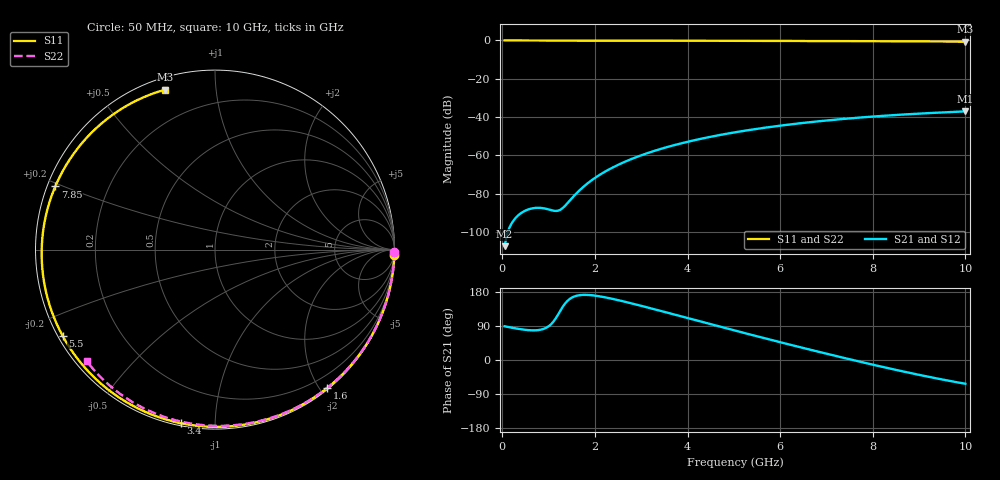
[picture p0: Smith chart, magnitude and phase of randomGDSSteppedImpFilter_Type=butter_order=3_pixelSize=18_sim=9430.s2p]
! freq	dB(S11)	phase(S11)	dB(S12)	phase(S12)
!  dB(S21)	phase(S21)	dB(S22)	phase(S22)
!S-par simulation data
#  GHz  S  DB  R 50
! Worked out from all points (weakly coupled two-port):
!   200 points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, 50 MHz to 10 GHz, reference 50 ohm
!   highest |S21| = -37.01 dB at 10 GHz (marker M1); lowest = -107.4 dB at 50 MHz (marker M2)
!   lowest |S11| = -0.6 dB at 10 GHz (marker M3), VSWR 29.03, Z = 2.65 + j36.7 ohm
!   |S11| at or under -10 dB: nowhere
!   |S22| runs from -0.5 to 0.0 dB; largest |S21 - S12| = 0
!   S11 on the Smith chart (normalised r, x): 50 MHz: 0, -69; 1.6 GHz: 0.02, -2.10; 3.4 GHz: 0.01, -0.82; 5.5 GHz: 0.01, -0.26; 7.85 GHz: 0.02, +0.19; 10 GHz: 0.05, +0.73
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0.05  -0.00 -1.7  -107.37 89.0  -107.37 89.0  -0.00 -0.8
0.4  -0.02 -13.1  -90.19 81.2  -90.19 81.2  -0.01 -6.4
0.8  -0.03 -26.0  -87.35 79.3  -87.35 79.3  -0.02 -12.8
1.2  -0.05 -38.6  -88.88 118.9  -88.88 118.9  -0.02 -19.1
1.6  -0.06 -50.9  -79.84 169.4  -79.84 169.4  -0.03 -25.4
1.75  -0.07 -55.4  -76.42 171.8  -76.42 171.8  -0.04 -27.7
2.05  -0.08 -64.3  -70.96 169.0  -70.96 169.0  -0.04 -32.3
2.45  -0.09 -75.7  -65.51 159.4  -65.51 159.4  -0.05 -38.5
2.9  -0.11 -88.1  -60.83 146.1  -60.83 146.1  -0.06 -45.3
3.4  -0.12 -101.2  -56.76 130.2  -56.76 130.2  -0.07 -52.7
4.15  -0.15 -119.7  -52.06 105.8  -52.06 105.8  -0.09 -63.6
4.6  -0.17 -130.3  -49.79 91.3  -49.79 91.3  -0.10 -69.9
5.05  -0.19 -140.5  -47.84 76.8  -47.84 76.8  -0.12 -76.2
5.5  -0.22 -150.5  -46.13 62.6  -46.13 62.6  -0.13 -82.3
6.1  -0.25 -163.6  -44.17 43.9  -44.17 43.9  -0.16 -90.3
6.7  -0.29 -176.6  -42.51 25.6  -42.51 25.6  -0.19 -98.1
7.25  -0.33 171.6  -41.21 9.3  -41.21 9.3  -0.22 -105.1
7.85  -0.38 158.4  -39.99 -8.1  -39.99 -8.1  -0.26 -112.7
8.35  -0.43 147.2  -39.13 -22.0  -39.13 -22.0  -0.30 -118.8
8.8  -0.47 136.8  -38.46 -34.0  -38.46 -34.0  -0.34 -124.3
9.25  -0.51 126.1  -37.87 -45.4  -37.87 -45.4  -0.39 -129.8
10  -0.60 107.3  -37.01 -62.7  -37.01 -62.7  -0.47 -138.9
